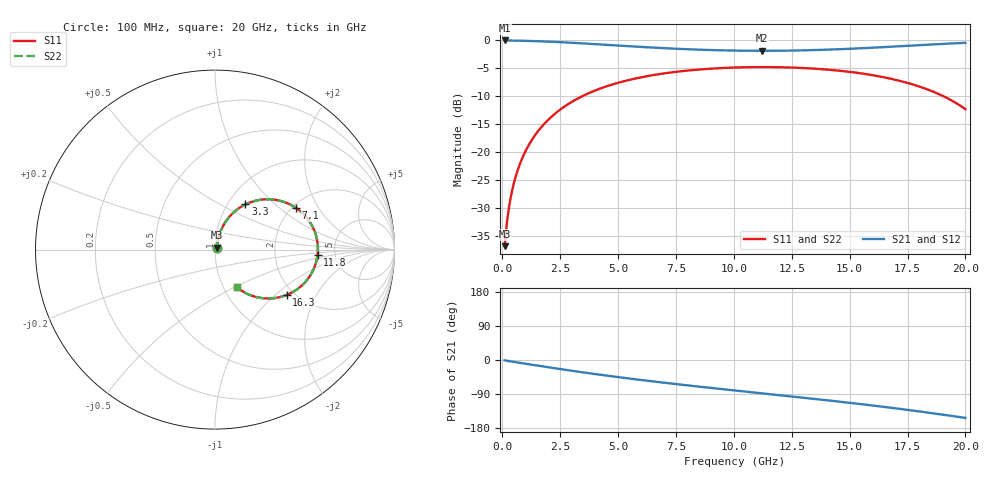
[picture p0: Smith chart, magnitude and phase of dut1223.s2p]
! Touchstone file exported from HFSS 2026.1.0
!  File:  C:/ffzhzh/LocalFiles/Ansys_Project_Files/temp_train_TSV_RDL_1223_1783321428_39728.aedt
!  Generated:  03:14:27 PM Jul  6, 2026
!  Design:  TSV_RDL
!  Project:  temp_train_TSV_RDL_1223_1783321428_39728
! Variables:
!  h_bsmrdl = 4.84um
!  h_ox = 20um
!  h_rdl = 5um
!  h_sub = 63.83um
!  h_tmrdl = 3.99um
!  h_tsv = 63.83um
!  h_via = 3um
!  l_bsmrdl = 303.71um
!  l_sub = 2761.38um
!  l_tmrdl = 329.48um
!  m_sub = 200um
!  pitch = 58.15um
!  r_tsv = 8.59um
!  s_tmrdl = 10um
!  w_bsmrdl = 19.7um
!  w_sub = 500um
!  w_tmrdl = 24.41um
!  x_tsv_center1 = 341.685um
!  x_tsv_center2 = 665.095um
!  x_tsv_center3 = 1018.985um
!  x_tsv_center4 = 1342.395um
!  x_tsv_center5 = 1696.285um
!  x_tsv_center6 = 2019.695um
# GHz S MA R 50.000000
! Terminal data exported
! Port[1] = TM_RDL1_1_T1
! Port[2] = TM_RDL5_1_T1
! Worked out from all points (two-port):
!   200 points, 100 MHz to 20 GHz, reference 50 ohm
!   highest |S21| = -0.09 dB at 100 MHz (marker M1); lowest = -1.9 dB at 11.2 GHz (marker M2)
!   |S21| within 3 dB of the highest: start of sweep to end of sweep
!   lowest |S11| = -36.8 dB at 100 MHz (marker M3), VSWR 1.03, Z = 51 + j1.08 ohm
!   |S11| at or under -10 dB: start of sweep to 3.466 GHz; 19.04 GHz to end of sweep
!   |S22| runs from -36.8 to -4.8 dB; largest |S21 - S12| = 4.9e-14
!   S11 on the Smith chart (normalised r, x): 100 MHz: 1.02, +0.02; 3.3 GHz: 1.21, +0.67; 7.1 GHz: 2.09, +1.31; 11.8 GHz: 3.65, -0.30; 16.3 GHz: 1.83, -1.19; 20 GHz: 1.15, -0.51
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0.1  0.01452 47.0  0.9902 -1.0  0.9902 -1.0  0.01452 47.0
! Gamma 0 0 0 0
! Port Impedance 50 0 50 0
0.2  0.02365 62.6  0.9897 -2.0  0.9897 -2.0  0.02365 62.6
0.3  0.0334 68.5  0.9889 -3.0  0.9889 -3.0  0.0334 68.5
0.4  0.04321 71.2  0.9881 -4.0  0.9881 -4.0  0.04321 71.2
0.7  0.07259 73.7  0.9855 -6.9  0.9855 -6.9  0.07259 73.7
1  0.1018 73.3  0.9824 -9.8  0.9824 -9.8  0.1018 73.3
1.4  0.1403 71.1  0.9771 -13.6  0.9771 -13.6  0.1403 71.1
1.9  0.1867 67.5  0.9687 -18.4  0.9687 -18.4  0.1867 67.5
2.5  0.2395 62.6  0.9563 -23.9  0.9563 -23.9  0.2395 62.6
3.3  0.3039 56.0  0.9369 -31.0  0.9369 -31.0  0.3039 56.0
3.5  0.3188 54.4  0.9318 -32.8  0.9318 -32.8  0.3188 54.4
5.1  0.4207 41.7  0.8893 -45.9  0.8893 -45.9  0.4207 41.7
6.8  0.4971 29.4  0.849 -58.6  0.849 -58.6  0.4972 29.4
7.1  0.5076 27.3  0.8428 -60.8  0.8428 -60.8  0.5076 27.3
10.1  0.5687 7.8  0.804 -80.8  0.804 -80.8  0.5687 7.8
11.2  0.5735 0.9  0.8007 -87.9  0.8007 -87.9  0.5735 0.9
11.8  0.5724 -2.8  0.8014 -91.7  0.8014 -91.7  0.5724 -2.8
13.4  0.5563 -12.9  0.8121 -102.1  0.8121 -102.1  0.5564 -12.9
16.3  0.4729 -32.3  0.8599 -122.4  0.8599 -122.4  0.4729 -32.3
16.7  0.455 -35.2  0.8687 -125.4  0.8687 -125.4  0.4551 -35.2
18.6  0.3467 -49.4  0.9131 -140.6  0.9131 -140.6  0.3468 -49.4
20  0.2418 -60.0  0.9427 -152.8  0.9427 -152.8  0.2418 -60.1
